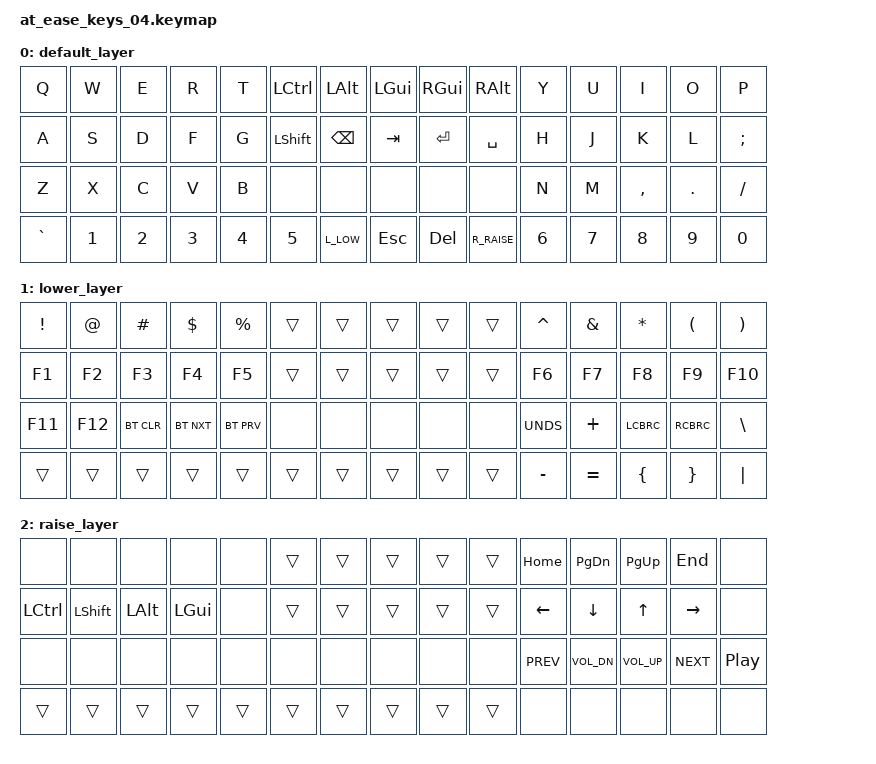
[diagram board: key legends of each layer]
/*
 * config/at_ease_keys_04.keymap
 *
 * キーマップ定義ファイル
 */

#include <behaviors.dtsi>
#include <dt-bindings/zmk/keys.h>
#include <dt-bindings/zmk/bt.h>

// レイヤー名の定義
#define BASE  0
#define LOWER 1
#define RAISE 2

// レイヤー切り替えのショートカット
#define L_LOW  &mo LOWER  // 押している間 LOWER レイヤー
#define R_RAISE &mo RAISE  // 押している間 RAISE レイヤー

/ {
    keymap {
        compatible = "zmk,keymap";

        // --- レイヤー 0: Base Layer (QWERTY配列) ---
        default_layer {
            bindings = <
            // |-------------------- LEFT HAND (32 keys) --------------------|   |-------------------- RIGHT HAND (28 keys) -------------------|
            &kp Q       &kp W       &kp E       &kp R       &kp T       &kp LCTRL   &kp LALT    &kp LGUI        &kp RGUI    &kp RALT    &kp Y       &kp U       &kp I       &kp O       &kp P       
            &kp A       &kp S       &kp D       &kp F       &kp G       &kp LSHFT   &kp BSPC    &kp TAB         &kp ENTER   &kp SPACE   &kp H       &kp J       &kp K       &kp L       &kp SEMI    
            &kp Z       &kp X       &kp C       &kp V       &kp B       &none       &none       &none           &none       &none       &kp N       &kp M       &kp COMMA   &kp DOT     &kp FSLH    
            &kp GRAVE   &kp N1      &kp N2      &kp N3      &kp N4      &kp N5      &L_LOW      &kp ESC         &kp DEL     &R_RAISE    &kp N6      &kp N7      &kp N8      &kp N9      &kp N0      
            >;
        };

        // --- レイヤー 1: Lower Layer (記号とファンクションキー) ---
        lower_layer {
            bindings = <
            // |-------------------- LEFT HAND (32 keys) --------------------|   |-------------------- RIGHT HAND (28 keys) -------------------|
            &kp EXCL    &kp AT      &kp HASH    &kp DLLR    &kp PRCNT   &trans      &trans      &trans          &trans      &trans      &kp CARET   &kp AMPS    &kp ASTRK   &kp LPAR    &kp RPAR
            &kp F1      &kp F2      &kp F3      &kp F4      &kp F5      &trans      &trans      &trans          &trans      &trans      &kp F6      &kp F7      &kp F8      &kp F9      &kp F10
            &kp F11     &kp F12     &bt BT_CLR  &bt BT_NXT  &bt BT_PRV  &none       &none       &none           &none       &none       &kp UNDS    &kp PLUS    &kp LCBRC   &kp RCBRC   &kp BSLH
            &trans      &trans      &trans      &trans      &trans      &trans      &trans      &trans          &trans      &trans      &kp MINUS   &kp EQUAL   &kp LBRC    &kp RBRC    &kp PIPE
            >;
        };

        // --- レイヤー 2: Raise Layer (矢印キーとメディアキー) ---
        raise_layer {
            bindings = <
            // |-------------------- LEFT HAND (32 keys) --------------------|   |-------------------- RIGHT HAND (28 keys) -------------------|
            &none       &none       &none       &none       &none       &trans      &trans      &trans          &trans      &trans      &kp HOME    &kp PG_DN   &kp PG_UP   &kp END     &none
            &kp LCTRL   &kp LSHFT   &kp LALT    &kp LGUI    &none       &trans      &trans      &trans          &trans      &trans      &kp LEFT    &kp DOWN    &kp UP      &kp RIGHT   &none
            &none       &none       &none       &none       &none       &none       &none       &none           &none       &none       &kp C_PREV  &kp C_VOL_DN &kp C_VOL_UP &kp C_NEXT  &kp C_PP
            &trans      &trans      &trans      &trans      &trans      &trans      &trans      &trans          &trans      &trans      &none       &none       &none       &none       &none
            >;
        };
    };
};
